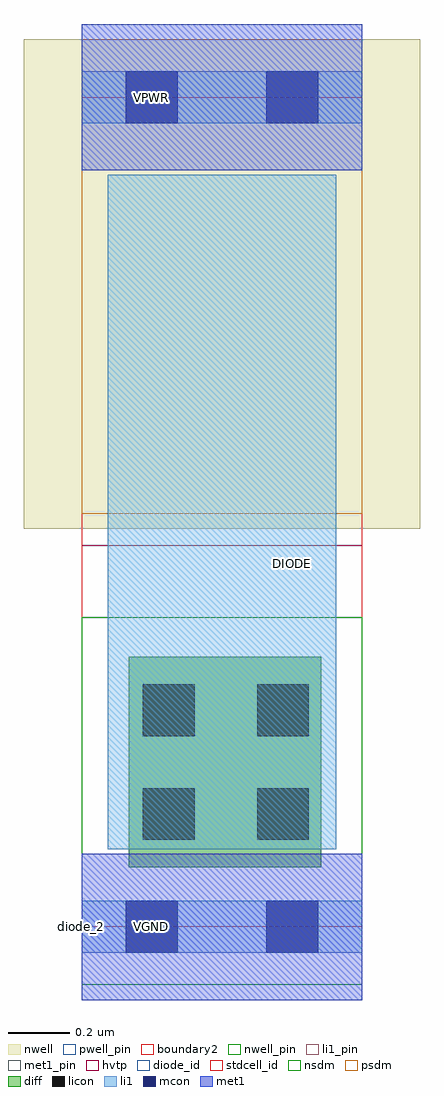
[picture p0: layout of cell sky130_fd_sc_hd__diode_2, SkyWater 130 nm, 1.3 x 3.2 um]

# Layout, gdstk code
import gdstk
lib = gdstk.Library(unit=1e-6, precision=1e-09)
def R(c, l, rs):  # rectangles x0, y0, x1, y1
    for r in rs: c.add(gdstk.rectangle(r[:2], r[2:], *l))
nwell_pin = (64, 16)
nwell = (64, 20)
diff = (65, 20)
licon = (66, 44)
li1_pin = (67, 16)
li1 = (67, 20)
mcon = (67, 44)
met1_pin = (68, 16)
met1 = (68, 20)
hvtp = (78, 44)
stdcell_id = (81, 4)
diode_id = (81, 23)
nsdm = (93, 44)
psdm = (94, 20)
pwell_pin = (122, 16)
boundary2 = (236, 0)

sky130_fd_sc_hd__diode_2 = lib.new_cell('sky130_fd_sc_hd__diode_2')
R(sky130_fd_sc_hd__diode_2, nwell_pin, [(0.145,2.635,0.315,2.805)])
R(sky130_fd_sc_hd__diode_2, nwell, [(-0.19,1.305,1.11,2.91)])
R(sky130_fd_sc_hd__diode_2, diff, [(0.155,0.195,0.785,0.885)])
R(sky130_fd_sc_hd__diode_2, licon, [(0.2,0.285,0.37,0.455), (0.575,0.285,0.745,0.455), (0.2,0.625,0.37,0.795), (0.575,0.625,0.745,0.795)])
R(sky130_fd_sc_hd__diode_2, li1_pin, [(0.085,0.255,0.835,2.465)])
R(sky130_fd_sc_hd__diode_2, li1, [(0,-0.085,0.92,0.085), (0.085,0.255,0.835,2.465), (0,2.635,0.92,2.805)])
R(sky130_fd_sc_hd__diode_2, mcon, [(0.145,-0.085,0.315,0.085), (0.605,-0.085,0.775,0.085), (0.145,2.635,0.315,2.805), (0.605,2.635,0.775,2.805)])
R(sky130_fd_sc_hd__diode_2, met1_pin, [(0,-0.24,0.92,0.24), (0,2.48,0.92,2.96)])
R(sky130_fd_sc_hd__diode_2, met1, [(0,-0.24,0.92,0.24), (0,2.48,0.92,2.96)])
R(sky130_fd_sc_hd__diode_2, hvtp, [(0,1.25,0.92,2.72)])
R(sky130_fd_sc_hd__diode_2, stdcell_id, [(0,0,0.92,2.72)])
R(sky130_fd_sc_hd__diode_2, diode_id, [(0.155,0.195,0.785,0.885)])
R(sky130_fd_sc_hd__diode_2, nsdm, [(0,-0.19,0.92,1.015)])
R(sky130_fd_sc_hd__diode_2, psdm, [(0,1.355,0.92,2.91)])
R(sky130_fd_sc_hd__diode_2, pwell_pin, [(0.145,-0.085,0.315,0.085)])
R(sky130_fd_sc_hd__diode_2, boundary2, [(0,0,0.92,2.72)])
sky130_fd_sc_hd__diode_2.add(gdstk.Label('DIODE', (0.69,1.19), layer=67, texttype=5))
sky130_fd_sc_hd__diode_2.add(gdstk.Label('VGND', (0.23,0), layer=68, texttype=5))
sky130_fd_sc_hd__diode_2.add(gdstk.Label('VPWR', (0.23,2.72), layer=68, texttype=5))
sky130_fd_sc_hd__diode_2.add(gdstk.Label('VPB', (0.23,2.72), layer=64, texttype=5))
sky130_fd_sc_hd__diode_2.add(gdstk.Label('VNB', (0.23,0), layer=64, texttype=59))
sky130_fd_sc_hd__diode_2.add(gdstk.Label('diode_2', (0,0), layer=83, texttype=44))

lib.write_gds('sky130_fd_sc_hd__diode_2.gds')
